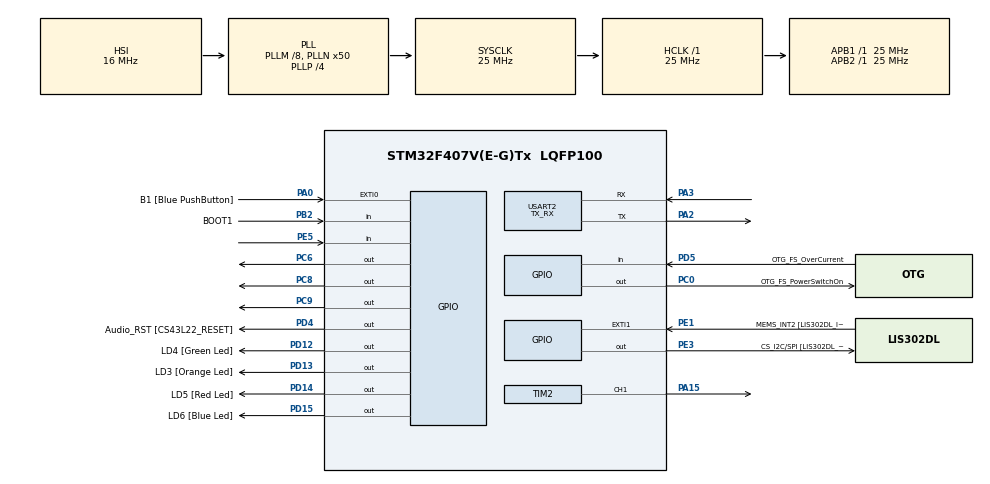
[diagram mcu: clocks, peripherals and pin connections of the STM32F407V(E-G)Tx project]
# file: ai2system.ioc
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Mcu.Family=STM32F4
Mcu.Name=STM32F407V(E-G)Tx
Mcu.Package=LQFP100
NVIC.PriorityGroup=NVIC_PRIORITYGROUP_0
NVIC.USART2_IRQn=true\:0\:0\:false\:false\:true\:true
PA0-WKUP.GPIO_Label=B1 [Blue PushButton]
PA0-WKUP.GPIO_ModeDefaultEXTI=GPIO_MODE_EVT_RISING
PA0-WKUP.GPIO_PuPd=GPIO_NOPULL
PA0-WKUP.Signal=GPXTI0
PA10.GPIO_Label=OTG_FS_ID
PA10.GPIO_Mode=GPIO_MODE_AF_PP
PA10.GPIO_PuPd=GPIO_NOPULL
PA10.GPIO_Speed=GPIO_SPEED_FREQ_LOW
PA10.Signal=USB_OTG_FS_ID
PA11.GPIO_Label=OTG_FS_DM
PA11.GPIO_Mode=GPIO_MODE_AF_PP
PA11.GPIO_PuPd=GPIO_NOPULL
PA11.GPIO_Speed=GPIO_SPEED_FREQ_LOW
PA11.Signal=USB_OTG_FS_DM
PA12.GPIO_Label=OTG_FS_DP
PA12.GPIO_Mode=GPIO_MODE_AF_PP
PA12.GPIO_PuPd=GPIO_NOPULL
PA12.GPIO_Speed=GPIO_SPEED_FREQ_LOW
PA12.Signal=USB_OTG_FS_DP
PA13.GPIO_Label=SWDIO
PA13.Signal=SYS_JTMS-SWDIO
PA14.GPIO_Label=SWCLK
PA14.Signal=SYS_JTCK-SWCLK
PA15.Signal=S_TIM2_CH1_ETR
PA2.Mode=Asynchronous
PA2.Signal=USART2_TX
PA3.Mode=Asynchronous
PA3.Signal=USART2_RX
PA4.GPIO_Label=I2S3_WS [CS43L22_LRCK]
PA4.GPIO_Mode=GPIO_MODE_AF_PP
PA4.GPIO_PuPd=GPIO_NOPULL
PA4.GPIO_Speed=GPIO_SPEED_FREQ_LOW
PA4.Signal=I2S3_WS
PA5.GPIO_Label=SPI1_SCK [LIS302DL_SCL/SPC]
PA5.GPIO_Mode=GPIO_MODE_AF_PP
PA5.GPIO_PuPd=GPIO_NOPULL
PA5.GPIO_Speed=GPIO_SPEED_FREQ_LOW
PA5.Signal=SPI1_SCK
PA6.GPIO_Label=SPI1_MISO [LIS302DL_SDO]
PA6.GPIO_Mode=GPIO_MODE_AF_PP
PA6.GPIO_PuPd=GPIO_NOPULL
PA6.GPIO_Speed=GPIO_SPEED_FREQ_LOW
PA6.Signal=SPI1_MISO
PA7.GPIO_Label=SPI1_MOSI [LIS302DL_SDA/SDI/SDO]
PA7.GPIO_Mode=GPIO_MODE_AF_PP
PA7.GPIO_PuPd=GPIO_NOPULL
PA7.GPIO_Speed=GPIO_SPEED_FREQ_LOW
PA7.Signal=SPI1_MOSI
PA9.GPIO_Label=VBUS_FS
PA9.GPIO_Mode=GPIO_MODE_INPUT
PA9.GPIO_PuPd=GPIO_NOPULL
PA9.Signal=USB_OTG_FS_VBUS
PB10.GPIO_Label=CLK_IN [MP45DT02_CLK]
PB10.GPIO_Mode=GPIO_MODE_AF_PP
PB10.GPIO_PuPd=GPIO_NOPULL
PB10.GPIO_Speed=GPIO_SPEED_FREQ_LOW
PB10.Signal=I2S2_CK
PB2.GPIO_Label=BOOT1
PB2.GPIO_Mode=GPIO_MODE_INPUT
PB2.GPIO_PuPd=GPIO_NOPULL
PB2.Signal=GPIO_Input
PB3.GPIO_Label=SWO
PB3.Signal=SYS_JTDO-SWO
PB6.GPIO_Label=Audio_SCL [CS43L22_SCL]
PB6.GPIO_Mode=GPIO_MODE_AF_OD
PB6.GPIO_PuPd=GPIO_NOPULL
PB6.GPIO_Speed=GPIO_SPEED_FREQ_LOW
PB6.Signal=I2C1_SCL
PB9.GPIO_Label=Audio_SDA [CS43L22_SDA]
PB9.GPIO_Mode=GPIO_MODE_AF_OD
PB9.GPIO_PuPd=GPIO_NOPULL
PB9.GPIO_Speed=GPIO_SPEED_FREQ_LOW
PB9.Signal=I2C1_SDA
PC0.GPIO_Label=OTG_FS_PowerSwitchOn
PC0.GPIO_PuPd=GPIO_NOPULL
PC0.GPIO_Speed=GPIO_SPEED_FREQ_LOW
PC0.PinState=GPIO_PIN_SET
PC0.Signal=GPIO_Output
PC10.GPIO_Label=I2S3_SCK [CS43L22_SCLK]
PC10.GPIO_Mode=GPIO_MODE_AF_PP
PC10.GPIO_PuPd=GPIO_NOPULL
PC10.GPIO_Speed=GPIO_SPEED_FREQ_LOW
PC10.Signal=I2S3_CK
PC12.GPIO_Label=I2S3_SD [CS43L22_SDIN]
PC12.GPIO_Mode=GPIO_MODE_AF_PP
PC12.GPIO_PuPd=GPIO_NOPULL
PC12.GPIO_Speed=GPIO_SPEED_FREQ_LOW
PC12.Signal=I2S3_SD
PC14-OSC32_IN.GPIO_Label=PC14-OSC32_IN
PC14-OSC32_IN.Signal=RCC_OSC32_IN
PC15-OSC32_OUT.GPIO_Label=PC15-OSC32_OUT
PC15-OSC32_OUT.Signal=RCC_OSC32_OUT
PC3.GPIO_Label=PDM_OUT [MP45DT02_DOUT]
PC3.GPIO_Mode=GPIO_MODE_AF_PP
PC3.GPIO_PuPd=GPIO_NOPULL
PC3.GPIO_Speed=GPIO_SPEED_FREQ_LOW
PC3.Signal=I2S2_SD
PC6.Signal=GPIO_Output
PC7.GPIO_Label=I2S3_MCK [CS43L22_MCLK]
PC7.GPIO_Mode=GPIO_MODE_AF_PP
PC7.GPIO_PuPd=GPIO_NOPULL
PC7.GPIO_Speed=GPIO_SPEED_FREQ_LOW
PC7.Signal=I2S3_MCK
PC8.Signal=GPIO_Output
PC9.Signal=GPIO_Output
PD12.GPIO_Label=LD4 [Green Led]
PD12.GPIO_PuPd=GPIO_NOPULL
PD12.GPIO_Speed=GPIO_SPEED_FREQ_LOW
PD12.Signal=GPIO_Output
PD13.GPIO_Label=LD3 [Orange Led]
PD13.GPIO_PuPd=GPIO_NOPULL
PD13.GPIO_Speed=GPIO_SPEED_FREQ_LOW
PD13.Signal=GPIO_Output
PD14.GPIO_Label=LD5 [Red Led]
PD14.GPIO_PuPd=GPIO_NOPULL
PD14.GPIO_Speed=GPIO_SPEED_FREQ_LOW
PD14.Signal=GPIO_Output
PD15.GPIO_Label=LD6 [Blue Led]
PD15.GPIO_PuPd=GPIO_NOPULL
PD15.GPIO_Speed=GPIO_SPEED_FREQ_LOW
PD15.Signal=GPIO_Output
PD4.GPIO_Label=Audio_RST [CS43L22_RESET]
PD4.GPIO_PuPd=GPIO_NOPULL
PD4.GPIO_Speed=GPIO_SPEED_FREQ_LOW
PD4.Signal=GPIO_Output
PD5.GPIO_Label=OTG_FS_OverCurrent
PD5.GPIO_Mode=GPIO_MODE_INPUT
PD5.GPIO_PuPd=GPIO_NOPULL
PD5.Signal=GPIO_Input
PE1.GPIO_Label=MEMS_INT2 [LIS302DL_INT2]
PE1.GPIO_ModeDefaultEXTI=GPIO_MODE_EVT_RISING
PE1.GPIO_PuPd=GPIO_NOPULL
PE1.Signal=GPXTI1
PE3.GPIO_Label=CS_I2C/SPI [LIS302DL_CS_I2C/SPI]
PE3.GPIO_PuPd=GPIO_NOPULL
PE3.GPIO_Speed=GPIO_SPEED_FREQ_LOW
PE3.Signal=GPIO_Output
PE5.Signal=GPIO_Input
PH0-OSC_IN.GPIO_Label=PH0-OSC_IN
PH0-OSC_IN.Signal=RCC_OSC_IN
PH1-OSC_OUT.GPIO_Label=PH1-OSC_OUT
PH1-OSC_OUT.Signal=RCC_OSC_OUT
ProjectManager.HeapSize=0x200
ProjectManager.StackSize=0x400
ProjectManager.TargetToolchain=SW4STM32
RCC.48MHZClocksFreq_Value=14285714.285714285
RCC.AHBFreq_Value=25000000
RCC.APB1Freq_Value=25000000
RCC.APB1TimFreq_Value=25000000
RCC.APB2Freq_Value=25000000
RCC.APB2TimFreq_Value=25000000
RCC.CortexFreq_Value=25000000
RCC.HCLKFreq_Value=25000000
RCC.HSE_VALUE=8000000
RCC.HSI_VALUE=16000000
RCC.LSE_VALUE=32768
RCC.PLLM=8
RCC.PLLN=50
RCC.PLLP=RCC_PLLP_DIV4
RCC.PLLQ=7
RCC.SYSCLKFreq_VALUE=25000000
RCC.SYSCLKSource=RCC_SYSCLKSOURCE_PLLCLK
RCC.VCOOutputFreq_Value=100000000
SH.S_TIM2_CH1_ETR.0=TIM2_CH1,PWM Generation1 CH1
TIM2.Channel-PWM\ Generation1\ CH1=TIM_CHANNEL_1
TIM2.Period=19999
TIM2.Prescaler=24
TIM2.Pulse-PWM\ Generation1\ CH1=0
TIM2.TIM_MasterOutputTrigger=TIM_TRGO_RESET
USART2.Mode=MODE_TX_RX
USART2.VirtualMode=VM_ASYNC
VP_TIM2_VS_ClockSourceINT.Mode=Internal
board=STM32F4DISCOVERY

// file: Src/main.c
/**
  ******************************************************************************
  * File Name          : main.c
  * Description        : Main program body
  ******************************************************************************
  ** This notice applies to any and all portions of this file
  * that are not between comment pairs USER CODE BEGIN and
  * USER CODE END. Other portions of this file, whether
  * inserted by the user or by software development tools
  * are owned by their respective copyright owners.
  *
  * COPYRIGHT(c) 2017 STMicroelectronics
  *
  * Redistribution and use in source and binary forms, with or without modification,
  * are permitted provided that the following conditions are met:
  *   1. Redistributions of source code must retain the above copyright notice,
  *      this list of conditions and the following disclaimer.
  *   2. Redistributions in binary form must reproduce the above copyright notice,
  *      this list of conditions and the following disclaimer in the documentation
  *      and/or other materials provided with the distribution.
  *   3. Neither the name of STMicroelectronics nor the names of its contributors
  *      may be used to endorse or promote products derived from this software
  *      without specific prior written permission.
  *
  * THIS SOFTWARE IS PROVIDED BY THE COPYRIGHT HOLDERS AND CONTRIBUTORS "AS IS"
  * AND ANY EXPRESS OR IMPLIED WARRANTIES, INCLUDING, BUT NOT LIMITED TO, THE
  * IMPLIED WARRANTIES OF MERCHANTABILITY AND FITNESS FOR A PARTICULAR PURPOSE ARE
  * DISCLAIMED. IN NO EVENT SHALL THE COPYRIGHT HOLDER OR CONTRIBUTORS BE LIABLE
  * FOR ANY DIRECT, INDIRECT, INCIDENTAL, SPECIAL, EXEMPLARY, OR CONSEQUENTIAL
  * DAMAGES (INCLUDING, BUT NOT LIMITED TO, PROCUREMENT OF SUBSTITUTE GOODS OR
  * SERVICES; LOSS OF USE, DATA, OR PROFITS; OR BUSINESS INTERRUPTION) HOWEVER
  * CAUSED AND ON ANY THEORY OF LIABILITY, WHETHER IN CONTRACT, STRICT LIABILITY,
  * OR TORT (INCLUDING NEGLIGENCE OR OTHERWISE) ARISING IN ANY WAY OUT OF THE USE
  * OF THIS SOFTWARE, EVEN IF ADVISED OF THE POSSIBILITY OF SUCH DAMAGE.
  *
  ******************************************************************************
  */

#include "main.h"
#include "stm32f4xx_hal.h"

TIM_HandleTypeDef htim2;

UART_HandleTypeDef huart2;

/* USER CODE BEGIN PV */
/* Private variables ---------------------------------------------------------*/
uint8_t buff, mem[10];
int data_in = 0, data_rev = 0;
/* USER CODE END PV */

void SystemClock_Config(void);
static void MX_GPIO_Init(void);
static void MX_USART2_UART_Init(void);
static void MX_TIM2_Init(void);
void HAL_TIM_MspPostInit(TIM_HandleTypeDef *htim);

/* USER CODE BEGIN PFP */
/* Private function prototypes -----------------------------------------------*/

/* USER CODE END PFP */

/* USER CODE BEGIN 0 */
void HAL_UART_RxCpltCallback(UART_HandleTypeDef *huart){
	if(huart->Instance == USART2){
		if(data_in > 5) data_in = 0;
		if(buff != '\r'){
			mem[data_in++] = buff;

		}else{
			data_rev = 1;
		}
		HAL_UART_Receive_IT(&huart2, &buff, 1);
	}

}
/* USER CODE END 0 */

int main(void)
{

  /* MCU Configuration----------------------------------------------------------*/

  /* Reset of all peripherals, Initializes the Flash interface and the Systick. */
  HAL_Init();

  /* Configure the system clock */
  SystemClock_Config();

  /* Initialize all configured peripherals */
  MX_GPIO_Init();
  MX_USART2_UART_Init();
  MX_TIM2_Init();

  /* USER CODE BEGIN 2 */
  HAL_TIM_PWM_Start(&htim2, TIM_CHANNEL_1);
  HAL_UART_Receive_IT(&huart2, &buff, 1);
  /* USER CODE END 2 */

  /* Infinite loop */
  while (1)
  {

  /* USER CODE BEGIN 3 */
	  if(data_rev){
	  	if(mem[1] == 49){
	  		HAL_GPIO_WritePin(GPIOC, GPIO_PIN_9, 0);
	  	}else{
	  		HAL_GPIO_WritePin(GPIOC, GPIO_PIN_9, 1);
	  	}
	  	if(mem[2] == 49){
	  		  HAL_GPIO_WritePin(GPIOC, GPIO_PIN_8, 0);
	  	}else{
	  		  HAL_GPIO_WritePin(GPIOC, GPIO_PIN_8, 1);
	  	}
	  	if(mem[3] == 49){
	  		  HAL_GPIO_WritePin(GPIOC, GPIO_PIN_6, 0);
	  	}else{
	  		  HAL_GPIO_WritePin(GPIOC, GPIO_PIN_6, 1);
	  	}

	  	if(mem[4] == 48){
	  		__HAL_TIM_SET_COMPARE(&htim2, TIM_CHANNEL_1, 1500);
	  	}else if(mem[4] == 49){
	  		__HAL_TIM_SET_COMPARE(&htim2, TIM_CHANNEL_1, 1000);
	  	}else{
	  		__HAL_TIM_SET_COMPARE(&htim2, TIM_CHANNEL_1, 2000);
	  	}
	  	data_rev = 0;
	  	data_in = 0;
	  }

  }
  /* USER CODE END 3 */

}

/** System Clock Configuration
*/
void SystemClock_Config(void)
{

  RCC_OscInitTypeDef RCC_OscInitStruct;
  RCC_ClkInitTypeDef RCC_ClkInitStruct;

    /**Configure the main internal regulator output voltage
    */
  __HAL_RCC_PWR_CLK_ENABLE();

  __HAL_PWR_VOLTAGESCALING_CONFIG(PWR_REGULATOR_VOLTAGE_SCALE1);

    /**Initializes the CPU, AHB and APB busses clocks
    */
  RCC_OscInitStruct.OscillatorType = RCC_OSCILLATORTYPE_HSI;
  RCC_OscInitStruct.HSIState = RCC_HSI_ON;
  RCC_OscInitStruct.HSICalibrationValue = 16;
  RCC_OscInitStruct.PLL.PLLState = RCC_PLL_ON;
  RCC_OscInitStruct.PLL.PLLSource = RCC_PLLSOURCE_HSI;
  RCC_OscInitStruct.PLL.PLLM = 8;
  RCC_OscInitStruct.PLL.PLLN = 50;
  RCC_OscInitStruct.PLL.PLLP = RCC_PLLP_DIV4;
  RCC_OscInitStruct.PLL.PLLQ = 7;
  if (HAL_RCC_OscConfig(&RCC_OscInitStruct) != HAL_OK)
  {
    _Error_Handler(__FILE__, __LINE__);
  }

    /**Initializes the CPU, AHB and APB busses clocks
    */
  RCC_ClkInitStruct.ClockType = RCC_CLOCKTYPE_HCLK|RCC_CLOCKTYPE_SYSCLK
                              |RCC_CLOCKTYPE_PCLK1|RCC_CLOCKTYPE_PCLK2;
  RCC_ClkInitStruct.SYSCLKSource = RCC_SYSCLKSOURCE_PLLCLK;
  RCC_ClkInitStruct.AHBCLKDivider = RCC_SYSCLK_DIV1;
  RCC_ClkInitStruct.APB1CLKDivider = RCC_HCLK_DIV1;
  RCC_ClkInitStruct.APB2CLKDivider = RCC_HCLK_DIV1;

  if (HAL_RCC_ClockConfig(&RCC_ClkInitStruct, FLASH_LATENCY_0) != HAL_OK)
  {
    _Error_Handler(__FILE__, __LINE__);
  }

    /**Configure the Systick interrupt time
    */
  HAL_SYSTICK_Config(HAL_RCC_GetHCLKFreq()/1000);

    /**Configure the Systick
    */
  HAL_SYSTICK_CLKSourceConfig(SYSTICK_CLKSOURCE_HCLK);

  /* SysTick_IRQn interrupt configuration */
  HAL_NVIC_SetPriority(SysTick_IRQn, 0, 0);
}

/* TIM2 init function */
static void MX_TIM2_Init(void)
{

  TIM_ClockConfigTypeDef sClockSourceConfig;
  TIM_MasterConfigTypeDef sMasterConfig;
  TIM_OC_InitTypeDef sConfigOC;

  htim2.Instance = TIM2;
  htim2.Init.Prescaler = 24;
  htim2.Init.CounterMode = TIM_COUNTERMODE_UP;
  htim2.Init.Period = 19999;
  htim2.Init.ClockDivision = TIM_CLOCKDIVISION_DIV1;
  if (HAL_TIM_Base_Init(&htim2) != HAL_OK)
  {
    _Error_Handler(__FILE__, __LINE__);
  }

  sClockSourceConfig.ClockSource = TIM_CLOCKSOURCE_INTERNAL;
  if (HAL_TIM_ConfigClockSource(&htim2, &sClockSourceConfig) != HAL_OK)
  {
    _Error_Handler(__FILE__, __LINE__);
  }

  if (HAL_TIM_PWM_Init(&htim2) != HAL_OK)
  {
    _Error_Handler(__FILE__, __LINE__);
  }

  sMasterConfig.MasterOutputTrigger = TIM_TRGO_RESET;
  sMasterConfig.MasterSlaveMode = TIM_MASTERSLAVEMODE_DISABLE;
  if (HAL_TIMEx_MasterConfigSynchronization(&htim2, &sMasterConfig) != HAL_OK)
  {
    _Error_Handler(__FILE__, __LINE__);
  }

  sConfigOC.OCMode = TIM_OCMODE_PWM1;
  sConfigOC.Pulse = 0;
  sConfigOC.OCPolarity = TIM_OCPOLARITY_HIGH;
  sConfigOC.OCFastMode = TIM_OCFAST_DISABLE;
  if (HAL_TIM_PWM_ConfigChannel(&htim2, &sConfigOC, TIM_CHANNEL_1) != HAL_OK)
  {
    _Error_Handler(__FILE__, __LINE__);
  }

  HAL_TIM_MspPostInit(&htim2);

}

/* USART2 init function */
static void MX_USART2_UART_Init(void)
{

  huart2.Instance = USART2;
  huart2.Init.BaudRate = 115200;
  huart2.Init.WordLength = UART_WORDLENGTH_8B;
  huart2.Init.StopBits = UART_STOPBITS_1;
  huart2.Init.Parity = UART_PARITY_NONE;
  huart2.Init.Mode = UART_MODE_TX_RX;
  huart2.Init.HwFlowCtl = UART_HWCONTROL_NONE;
  huart2.Init.OverSampling = UART_OVERSAMPLING_16;
  if (HAL_UART_Init(&huart2) != HAL_OK)
  {
    _Error_Handler(__FILE__, __LINE__);
  }

}

/** Configure pins as
        * Analog
        * Input
        * Output
        * EVENT_OUT
        * EXTI
     PC3   ------> I2S2_SD
     PA4   ------> I2S3_WS
     PA5   ------> SPI1_SCK
     PA6   ------> SPI1_MISO
     PA7   ------> SPI1_MOSI
     PB10   ------> I2S2_CK
     PC7   ------> I2S3_MCK
     PA9   ------> USB_OTG_FS_VBUS
     PA10   ------> USB_OTG_FS_ID
     PA11   ------> USB_OTG_FS_DM
     PA12   ------> USB_OTG_FS_DP
     PC10   ------> I2S3_CK
     PC12   ------> I2S3_SD
     PB6   ------> I2C1_SCL
     PB9   ------> I2C1_SDA
*/
static void MX_GPIO_Init(void)
{

  GPIO_InitTypeDef GPIO_InitStruct;

  /* GPIO Ports Clock Enable */
  __HAL_RCC_GPIOE_CLK_ENABLE();
  __HAL_RCC_GPIOC_CLK_ENABLE();
  __HAL_RCC_GPIOH_CLK_ENABLE();
  __HAL_RCC_GPIOA_CLK_ENABLE();
  __HAL_RCC_GPIOB_CLK_ENABLE();
  __HAL_RCC_GPIOD_CLK_ENABLE();

  /*Configure GPIO pin Output Level */
  HAL_GPIO_WritePin(CS_I2C_SPI_GPIO_Port, CS_I2C_SPI_Pin, GPIO_PIN_RESET);

  /*Configure GPIO pin Output Level */
  HAL_GPIO_WritePin(OTG_FS_PowerSwitchOn_GPIO_Port, OTG_FS_PowerSwitchOn_Pin, GPIO_PIN_SET);

  /*Configure GPIO pin Output Level */
  HAL_GPIO_WritePin(GPIOD, LD4_Pin|LD3_Pin|LD5_Pin|LD6_Pin
                          |Audio_RST_Pin, GPIO_PIN_RESET);

  /*Configure GPIO pin Output Level */
  HAL_GPIO_WritePin(GPIOC, GPIO_PIN_6|GPIO_PIN_8|GPIO_PIN_9, GPIO_PIN_RESET);

  /*Configure GPIO pin : CS_I2C_SPI_Pin */
  GPIO_InitStruct.Pin = CS_I2C_SPI_Pin;
  GPIO_InitStruct.Mode = GPIO_MODE_OUTPUT_PP;
  GPIO_InitStruct.Pull = GPIO_NOPULL;
  GPIO_InitStruct.Speed = GPIO_SPEED_FREQ_LOW;
  HAL_GPIO_Init(CS_I2C_SPI_GPIO_Port, &GPIO_InitStruct);

  /*Configure GPIO pin : PE5 */
  GPIO_InitStruct.Pin = GPIO_PIN_5;
  GPIO_InitStruct.Mode = GPIO_MODE_INPUT;
  GPIO_InitStruct.Pull = GPIO_NOPULL;
  HAL_GPIO_Init(GPIOE, &GPIO_InitStruct);

  /*Configure GPIO pins : OTG_FS_PowerSwitchOn_Pin PC6 PC8 PC9 */
  GPIO_InitStruct.Pin = OTG_FS_PowerSwitchOn_Pin|GPIO_PIN_6|GPIO_PIN_8|GPIO_PIN_9;
  GPIO_InitStruct.Mode = GPIO_MODE_OUTPUT_PP;
  GPIO_InitStruct.Pull = GPIO_NOPULL;
  GPIO_InitStruct.Speed = GPIO_SPEED_FREQ_LOW;
  HAL_GPIO_Init(GPIOC, &GPIO_InitStruct);

  /*Configure GPIO pin : PDM_OUT_Pin */
  GPIO_InitStruct.Pin = PDM_OUT_Pin;
  GPIO_InitStruct.Mode = GPIO_MODE_AF_PP;
  GPIO_InitStruct.Pull = GPIO_NOPULL;
  GPIO_InitStruct.Speed = GPIO_SPEED_FREQ_LOW;
  GPIO_InitStruct.Alternate = GPIO_AF5_SPI2;
  HAL_GPIO_Init(PDM_OUT_GPIO_Port, &GPIO_InitStruct);

  /*Configure GPIO pin : B1_Pin */
  GPIO_InitStruct.Pin = B1_Pin;
  GPIO_InitStruct.Mode = GPIO_MODE_EVT_RISING;
  GPIO_InitStruct.Pull = GPIO_NOPULL;
  HAL_GPIO_Init(B1_GPIO_Port, &GPIO_InitStruct);

  /*Configure GPIO pin : I2S3_WS_Pin */
  GPIO_InitStruct.Pin = I2S3_WS_Pin;
  GPIO_InitStruct.Mode = GPIO_MODE_AF_PP;
  GPIO_InitStruct.Pull = GPIO_NOPULL;
  GPIO_InitStruct.Speed = GPIO_SPEED_FREQ_LOW;
  GPIO_InitStruct.Alternate = GPIO_AF6_SPI3;
  HAL_GPIO_Init(I2S3_WS_GPIO_Port, &GPIO_InitStruct);

  /*Configure GPIO pins : SPI1_SCK_Pin SPI1_MISO_Pin SPI1_MOSI_Pin */
  GPIO_InitStruct.Pin = SPI1_SCK_Pin|SPI1_MISO_Pin|SPI1_MOSI_Pin;
  GPIO_InitStruct.Mode = GPIO_MODE_AF_PP;
  GPIO_InitStruct.Pull = GPIO_NOPULL;
  GPIO_InitStruct.Speed = GPIO_SPEED_FREQ_LOW;
  GPIO_InitStruct.Alternate = GPIO_AF5_SPI1;
  HAL_GPIO_Init(GPIOA, &GPIO_InitStruct);

  /*Configure GPIO pin : BOOT1_Pin */
  GPIO_InitStruct.Pin = BOOT1_Pin;
  GPIO_InitStruct.Mode = GPIO_MODE_INPUT;
  GPIO_InitStruct.Pull = GPIO_NOPULL;
  HAL_GPIO_Init(BOOT1_GPIO_Port, &GPIO_InitStruct);

  /*Configure GPIO pin : CLK_IN_Pin */
  GPIO_InitStruct.Pin = CLK_IN_Pin;
  GPIO_InitStruct.Mode = GPIO_MODE_AF_PP;
  GPIO_InitStruct.Pull = GPIO_NOPULL;
  GPIO_InitStruct.Speed = GPIO_SPEED_FREQ_LOW;
  GPIO_InitStruct.Alternate = GPIO_AF5_SPI2;
  HAL_GPIO_Init(CLK_IN_GPIO_Port, &GPIO_InitStruct);

  /*Configure GPIO pins : LD4_Pin LD3_Pin LD5_Pin LD6_Pin
                           Audio_RST_Pin */
  GPIO_InitStruct.Pin = LD4_Pin|LD3_Pin|LD5_Pin|LD6_Pin
                          |Audio_RST_Pin;
  GPIO_InitStruct.Mode = GPIO_MODE_OUTPUT_PP;
  GPIO_InitStruct.Pull = GPIO_NOPULL;
  GPIO_InitStruct.Speed = GPIO_SPEED_FREQ_LOW;
  HAL_GPIO_Init(GPIOD, &GPIO_InitStruct);

  /*Configure GPIO pins : I2S3_MCK_Pin I2S3_SCK_Pin I2S3_SD_Pin */
  GPIO_InitStruct.Pin = I2S3_MCK_Pin|I2S3_SCK_Pin|I2S3_SD_Pin;
  GPIO_InitStruct.Mode = GPIO_MODE_AF_PP;
  GPIO_InitStruct.Pull = GPIO_NOPULL;
  GPIO_InitStruct.Speed = GPIO_SPEED_FREQ_LOW;
  GPIO_InitStruct.Alternate = GPIO_AF6_SPI3;
  HAL_GPIO_Init(GPIOC, &GPIO_InitStruct);

  /*Configure GPIO pin : VBUS_FS_Pin */
  GPIO_InitStruct.Pin = VBUS_FS_Pin;
  GPIO_InitStruct.Mode = GPIO_MODE_INPUT;
  GPIO_InitStruct.Pull = GPIO_NOPULL;
  HAL_GPIO_Init(VBUS_FS_GPIO_Port, &GPIO_InitStruct);

  /*Configure GPIO pins : OTG_FS_ID_Pin OTG_FS_DM_Pin OTG_FS_DP_Pin */
  GPIO_InitStruct.Pin = OTG_FS_ID_Pin|OTG_FS_DM_Pin|OTG_FS_DP_Pin;
  GPIO_InitStruct.Mode = GPIO_MODE_AF_PP;
  GPIO_InitStruct.Pull = GPIO_NOPULL;
  GPIO_InitStruct.Speed = GPIO_SPEED_FREQ_LOW;
  GPIO_InitStruct.Alternate = GPIO_AF10_OTG_FS;
  HAL_GPIO_Init(GPIOA, &GPIO_InitStruct);

  /*Configure GPIO pin : OTG_FS_OverCurrent_Pin */
  GPIO_InitStruct.Pin = OTG_FS_OverCurrent_Pin;
  GPIO_InitStruct.Mode = GPIO_MODE_INPUT;
  GPIO_InitStruct.Pull = GPIO_NOPULL;
  HAL_GPIO_Init(OTG_FS_OverCurrent_GPIO_Port, &GPIO_InitStruct);

  /*Configure GPIO pins : Audio_SCL_Pin Audio_SDA_Pin */
  GPIO_InitStruct.Pin = Audio_SCL_Pin|Audio_SDA_Pin;
  GPIO_InitStruct.Mode = GPIO_MODE_AF_OD;
  GPIO_InitStruct.Pull = GPIO_PULLUP;
  GPIO_InitStruct.Speed = GPIO_SPEED_FREQ_LOW;
  GPIO_InitStruct.Alternate = GPIO_AF4_I2C1;
  HAL_GPIO_Init(GPIOB, &GPIO_InitStruct);

  /*Configure GPIO pin : MEMS_INT2_Pin */
  GPIO_InitStruct.Pin = MEMS_INT2_Pin;
  GPIO_InitStruct.Mode = GPIO_MODE_EVT_RISING;
  GPIO_InitStruct.Pull = GPIO_NOPULL;
  HAL_GPIO_Init(MEMS_INT2_GPIO_Port, &GPIO_InitStruct);

}

/* USER CODE BEGIN 4 */
void user_pwm_setvalue(uint16_t value)
{
    TIM_OC_InitTypeDef sConfigOC;

    sConfigOC.OCMode = TIM_OCMODE_PWM1;
    sConfigOC.Pulse = value;
    sConfigOC.OCPolarity = TIM_OCPOLARITY_HIGH;
    sConfigOC.OCFastMode = TIM_OCFAST_DISABLE;
    HAL_TIM_PWM_ConfigChannel(&htim2, &sConfigOC, TIM_CHANNEL_1);
    HAL_TIM_PWM_Start(&htim2, TIM_CHANNEL_1);
}
/* USER CODE END 4 */

void _Error_Handler(char * file, int line)
{
  while(1)
  {
  }
}

/************************ (C) COPYRIGHT STMicroelectronics *****END OF FILE****/
